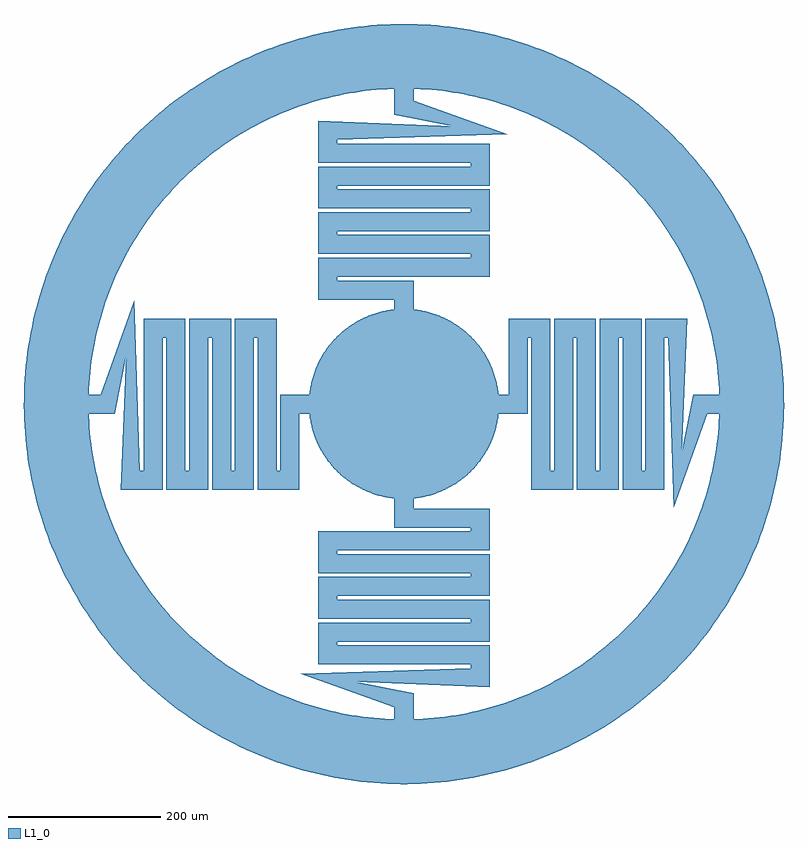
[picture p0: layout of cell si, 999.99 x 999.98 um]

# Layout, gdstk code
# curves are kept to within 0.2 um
import gdstk
lib = gdstk.Library(unit=1e-6, precision=1e-09)
def P(c, l, *ps):  # polygons
    for p in ps: c.add(gdstk.Polygon(p, *l))
L1_0 = (1, 0)

c_si = lib.new_cell('si')
P(c_si, L1_0, [(-1.094,-124.995),(-14.19,-124.192),(-24.989,-122.477),(-37.69,-119.183),(-47.962,-115.433),(-57.867,-110.799),(-69.162,-104.123),(-79.695,-96.3),(-89.35,-87.416),(-98.021,-77.569),(-104.425,-68.706),(-111.051,-57.381),(-116.454,-45.425),(-119.979,-35.073),(-122.994,-22.304),(-124.473,-11.469),(-124.989,1.641),(-124.368,12.558),(-122.366,25.525),(-119.017,38.211),(-115.222,48.466),(-109.507,60.277),(-103.82,69.617),(-95.951,80.115),(-87.024,89.732),(-77.14,98.359),(-68.248,104.724),(-56.895,111.301),(-46.95,115.848),(-36.645,119.508),(-23.917,122.691),(-10.925,124.522),(2.188,124.981),(15.276,124.063),(26.06,122.253),(36.645,119.508),(48.97,115.008),(60.755,109.242),(70.07,103.514),(80.535,95.599),(88.582,88.195),(97.338,78.424),(103.82,69.617),(109.507,60.277),(115.222,48.466),(119.667,36.122),(122.794,23.38),(124.368,12.558),(124.999,-0.547),(124.473,-11.469),(122.585,-24.453),(119.346,-37.168),(114.793,-49.473),(108.975,-61.233),(103.206,-70.523),(96.648,-79.273),(87.806,-88.967),(79.695,-96.3),(69.162,-104.123),(57.867,-110.799),(47.962,-115.433),(37.69,-119.183),(24.989,-122.477),(12.014,-124.421)],
  [(-4.375,-499.981),(-30.609,-499.062),(-56.759,-496.768),(-82.752,-493.105),(-99.958,-489.907),(-125.531,-483.985),(-150.759,-476.73),(-175.57,-468.161),(-199.898,-458.302),(-215.815,-451.025),(-239.188,-439.078),(-261.902,-425.92),(-283.894,-411.588),(-305.103,-396.121),(-325.472,-379.563),(-344.944,-361.959),(-357.4,-349.665),(-375.258,-330.426),(-392.082,-310.277),(-407.826,-289.272),(-417.699,-274.822),(-431.547,-252.522),(-440.12,-237.265),(-451.965,-213.839),(-462.565,-189.825),(-471.89,-165.287),(-479.914,-140.294),(-486.616,-114.914),(-491.976,-89.217),(-494.797,-71.945),(-497.891,-45.878),(-499.612,-19.685),(-499.957,6.563),(-498.923,32.793),(-496.515,58.932),(-492.738,84.908),(-487.603,110.651),(-481.124,136.089),(-476.066,152.843),(-470.426,169.41),(-460.886,193.865),(-450.077,217.786),(-438.027,241.107),(-424.769,263.763),(-415.278,278.467),(-405.279,292.83),(-389.352,313.696),(-372.352,333.697),(-354.326,352.779),(-335.323,370.888),(-315.396,387.976),(-294.6,403.994),(-278.86,415),(0,415),(-21.78,414.428),(-36.27,413.412),(-50.716,411.889),(-65.1,409.862),(-79.404,407.333),(-100.672,402.604),(-121.662,396.766),(-135.473,392.265),(-149.118,387.284),(-162.58,381.828),(-175.844,375.904),(-195.329,366.158),(-214.277,355.402),(-226.583,347.685),(-238.612,339.543),(-250.349,330.984),(-261.779,322.02),(-278.318,307.837),(-294.091,292.807),(-304.158,282.335),(-313.852,271.518),(-327.669,254.672),(-336.381,243.049),(-344.681,231.128),(-356.336,212.72),(-363.562,200.119),(-370.343,187.273),(-376.67,174.197),(-382.536,160.908),(-390.453,140.61),(-395.135,126.86),(-399.333,112.954),(-404.71,91.84),(-407.676,77.621),(-410.143,63.306),(-412.9,41.693),(-414.519,19.966),(-414.964,5.447),(-414.901,-9.078),(-414.329,-23.593),(-413.249,-38.079),(-410.681,-59.714),(-406.982,-81.185),(-403.891,-95.378),(-400.306,-109.455),(-394.01,-130.313),(-389.208,-144.022),(-383.929,-157.555),(-378.18,-170.894),(-371.968,-184.025),(-361.797,-203.293),(-350.629,-222),(-342.645,-234.135),(-334.242,-245.983),(-325.428,-257.53),(-316.216,-268.761),(-301.675,-284.986),(-286.303,-300.426),(-275.614,-310.261),(-264.587,-319.717),(-253.236,-328.781),(-241.574,-337.442),(-223.532,-349.655),(-204.874,-360.904),(-192.118,-367.853),(-179.126,-374.351),(-165.916,-380.391),(-152.502,-385.964),(-132.035,-393.436),(-118.186,-397.816),(-104.191,-401.708),(-82.965,-406.622),(-68.684,-409.277),(-54.318,-411.43),(-32.651,-413.714),(-10.894,-414.857),(3.632,-414.984),(18.152,-414.603),(39.886,-413.079),(54.318,-411.43),(68.684,-409.277),(82.965,-406.622),(97.145,-403.47),(118.186,-397.816),(138.901,-391.065),(152.502,-385.964),(165.916,-380.391),(179.126,-374.351),(192.118,-367.853),(211.158,-357.263),(223.532,-349.655),(235.632,-341.618),(253.236,-328.781),(264.587,-319.717),(275.614,-310.261),(291.517,-295.369),(306.617,-279.663),(316.216,-268.761),(325.428,-257.53),(338.495,-240.096),(350.629,-222),(361.797,-203.293),(371.968,-184.025),(378.18,-170.894),(386.628,-150.811),(391.669,-137.188),(398.329,-116.444),(402.16,-102.432),(406.982,-81.185),(410.681,-59.714),(412.52,-45.305),(414.329,-23.593),(414.901,-9.078),(414.805,12.709),(413.567,34.461),(411.188,56.118),(407.676,77.621),(404.71,91.84),(399.333,112.954),(395.135,126.86),(387.933,147.422),(382.536,160.908),(373.564,180.763),(367.009,193.725),(356.336,212.72),(344.681,231.128),(336.381,243.049),(323.162,260.368),(313.852,271.518),(299.17,287.615),(288.921,297.909),(272.888,312.661),(261.779,322.02),(244.518,335.315),(232.633,343.667),(220.464,351.597),(208.024,359.098),(195.329,366.158),(175.844,375.904),(162.58,381.828),(149.118,387.284),(128.587,394.576),(114.7,398.835),(100.672,402.604),(79.404,407.333),(57.917,410.939),(36.27,413.412),(14.524,414.746),(0,415),(-278.86,415),(-258.165,428.195),(-243.021,436.968),(-227.58,445.205),(-211.86,452.897),(-195.88,460.034),(-179.66,466.607),(-163.221,472.609),(-146.581,478.031),(-129.762,482.868),(-112.783,487.114),(-95.667,490.763),(-78.433,493.81),(-61.104,496.252),(-43.699,498.087),(-17.498,499.694),(0,500),(17.498,499.694),(43.699,498.087),(69.779,495.107),(95.667,490.763),(121.291,485.065),(146.581,478.031),(171.467,469.68),(195.88,460.034),(211.86,452.897),(235.337,441.154),(258.165,428.195),(280.281,414.056),(294.6,403.994),(315.396,387.976),(335.323,370.888),(354.326,352.779),(372.352,333.697),(389.352,313.696),(405.279,292.83),(415.278,278.467),(429.321,256.289),(442.179,233.404),(453.819,209.876),(464.209,185.77),(473.318,161.151),(481.124,136.089),(487.603,110.651),(491.176,93.519),(495.408,67.612),(498.273,41.519),(499.421,24.056),(499.995,-2.188),(499.191,-28.425),(497.012,-54.584),(494.797,-71.945),(490.339,-97.813),(486.616,-114.914),(479.914,-140.294),(471.89,-165.287),(462.565,-189.825),(451.965,-213.839),(440.12,-237.265),(427.061,-260.036),(412.826,-282.09),(402.701,-296.365),(386.592,-317.091),(369.418,-336.943),(351.225,-355.866),(332.065,-373.809),(311.989,-390.721),(291.054,-406.556),(269.316,-421.271),(254.408,-430.438),(231.467,-443.196),(207.888,-454.733),(183.737,-465.017),(159.079,-474.019),(142.392,-479.296),(117.042,-486.108),(91.369,-491.581),(65.444,-495.699),(39.339,-498.45),(13.125,-499.828)])
c_si.add(gdstk.FlexPath([(0,0),(0,150),(-100,150),(-100,180),(100,180),(100,210),(-100,210),(-100,240),(100,240),(100,270),(-100,270),(-100,300),(100,300),(100,330),(-100,330),(-100,360),(100,360),(100,360),(0,390),(0,415)], 25, ends="flush", simple_path=True, layer=1, datatype=0))  # L1_0
c_si.add(gdstk.FlexPath([(0,0),(-150,0),(-150,-100),(-180,-100),(-180,100),(-210,100),(-210,-100),(-240,-100),(-240,100),(-270,100),(-270,-100),(-300,-100),(-300,100),(-330,100),(-330,-100),(-360,-100),(-360,100),(-360,100),(-390,0),(-415,0)], 25, ends="flush", simple_path=True, layer=1, datatype=0))  # L1_0
c_si.add(gdstk.FlexPath([(0,0),(0,-150),(100,-150),(100,-180),(-100,-180),(-100,-210),(100,-210),(100,-240),(-100,-240),(-100,-270),(100,-270),(100,-300),(-100,-300),(-100,-330),(100,-330),(100,-360),(-100,-360),(-100,-360),(0,-390),(0,-415)], 25, ends="flush", simple_path=True, layer=1, datatype=0))  # L1_0
c_si.add(gdstk.FlexPath([(0,0),(150,0),(150,100),(180,100),(180,-100),(210,-100),(210,100),(240,100),(240,-100),(270,-100),(270,100),(300,100),(300,-100),(330,-100),(330,100),(360,100),(360,-100),(360,-100),(390,0),(415,0)], 25, ends="flush", simple_path=True, layer=1, datatype=0))  # L1_0

lib.write_gds('si.gds')
